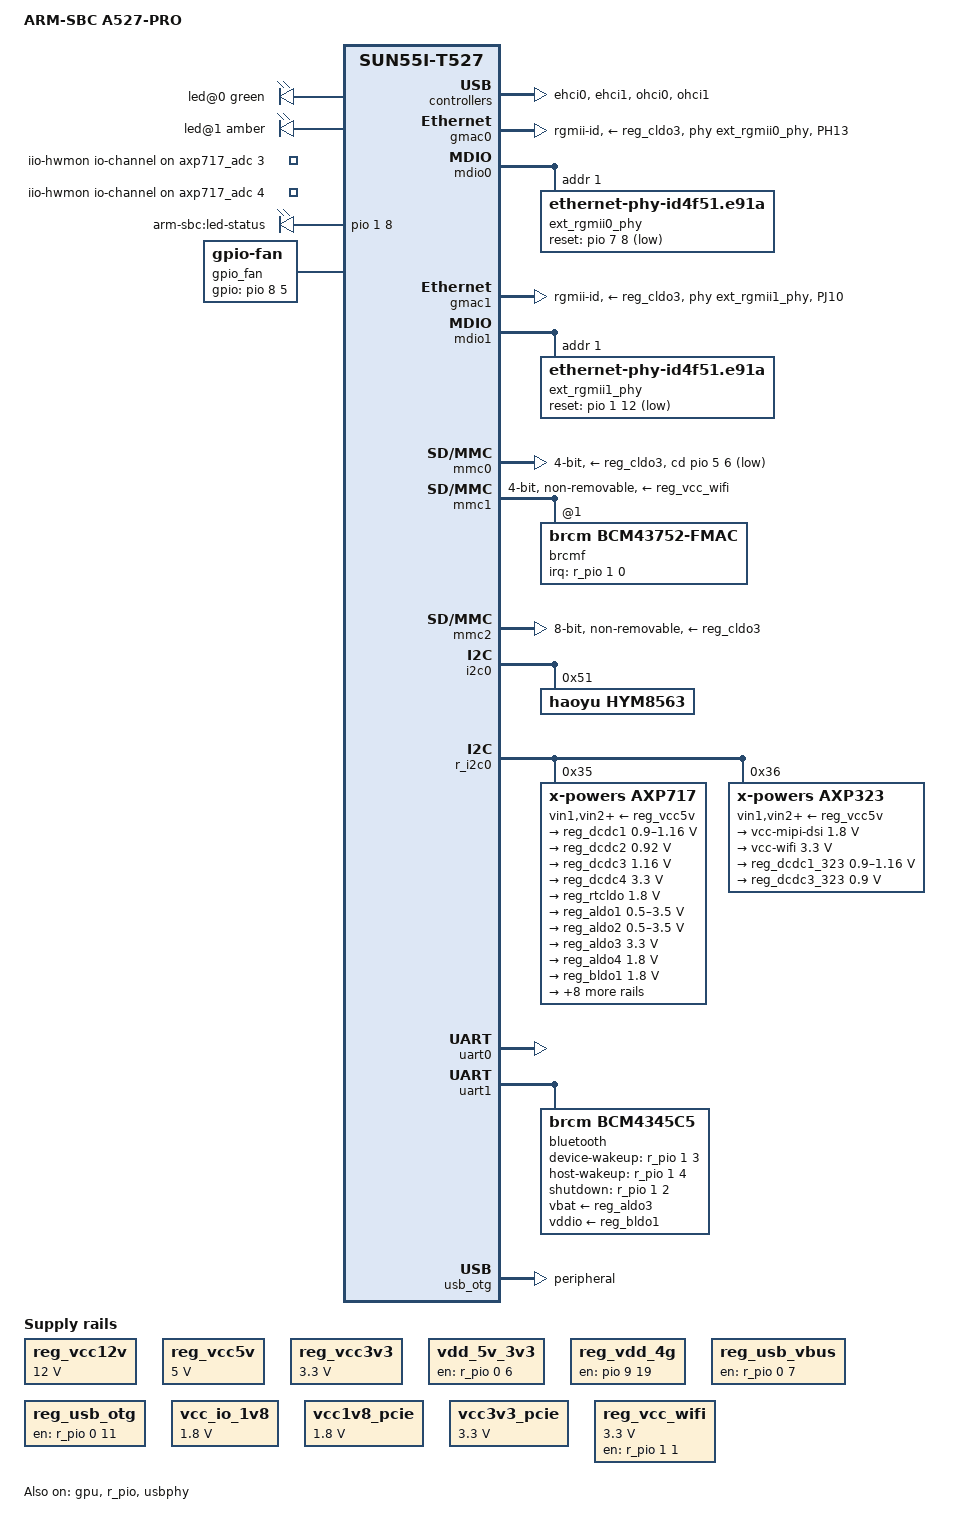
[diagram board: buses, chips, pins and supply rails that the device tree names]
// SPDX-License-Identifier: (GPL-2.0-only OR MIT)
// Copyright (C) 2024 Arm Ltd.

/dts-v1/;

#include "sun55i-a523.dtsi"

#include <dt-bindings/gpio/gpio.h>
#include <dt-bindings/leds/common.h>


/ {
	model = "ARM-SBC A527-PRO";
	compatible = "armsbc,a527-pro", "allwinner,sun55i-t527";

	aliases {
		mmc0 = &mmc0;
		mmc1 = &mmc1;
		mmc2 = &mmc2;
		serial0 = &uart0;
		serial1 = &uart1;
		serial2 = &uart2;
		serial3 = &uart3;
		serial4 = &uart4;
		serial5 = &uart5;
		serial6 = &uart6;
		serial7 = &uart7;
		i2c0	= &i2c0;
		i2c1	= &i2c1;
		i2c2	= &i2c2;
		i2c3	= &i2c3;
		i2c4	= &i2c4;
		i2c5	= &i2c5;
		i2c6  	= &r_i2c0;
		ethernet0 = &gmac0;
		ethernet1 = &gmac1;
	};

	chosen {
		stdout-path = "serial0:115200n8";
	};
	
	leds {
		compatible = "gpio-leds";
		#address-cells = <1>;
		#size-cells = <0>;
		
		led@0 {
				reg = <0>;
				color = <LED_COLOR_ID_GREEN>;
				function = LED_FUNCTION_LAN;
				linux,default-trigger = "netdev";
			};

		led@1 {
				reg = <1>;
				color = <LED_COLOR_ID_AMBER>;
				function = LED_FUNCTION_LAN;
				linux,default-trigger = "netdev";
			};
	};
	
	iio-hwmon {
		compatible = "iio-hwmon";
		io-channels = <&axp717_adc 3>, /* vsys_v */
			      <&axp717_adc 4>; /* pmic_temp */
	};
		
	run-control {
		compatible = "gpio-leds";
		led-status {
			label = "arm-sbc:led-status";
			gpios = <&pio 1 8 GPIO_ACTIVE_HIGH>; /* PB8 */
			default-state = "on";
		};
	};
	
	gpio_fan {
		compatible = "gpio-fan";
		gpios = <&pio 8 5 GPIO_ACTIVE_HIGH>; /* PI5*/
		gpio-fan,speed-map = <0    0
				      1000 1
				      2000 2>;
        	#cooling-cells = <2>;
        	status = "okay";
	};
	
	reg_vcc12v: vcc12v {
		compatible = "regulator-fixed";
		regulator-name = "vcc-12v";
		regulator-min-microvolt = <12000000>;
		regulator-max-microvolt = <12000000>;
		regulator-always-on;
		regulator-boot-on;
	};
	
	reg_vcc5v: vcc5v {
		compatible = "regulator-fixed";
		regulator-name = "vcc-5v";
		regulator-min-microvolt = <5000000>;
		regulator-max-microvolt = <5000000>;
		regulator-always-on;
		regulator-boot-on;
	};
	
	reg_vcc3v3: vcc3v3 {
		compatible = "regulator-fixed";
		regulator-name = "vcc-3v3";
		regulator-min-microvolt = <3300000>;
		regulator-max-microvolt = <3300000>;
		regulator-boot-on;
		regulator-always-on;
	};

	vdd_5v_3v3: vdd-5v-3v3 {
		compatible = "regulator-fixed";
		regulator-name = "vdd-5v-3v3";
		regulator-enable-ramp-delay = <1000>; 
		gpios = <&r_pio 0 6 GPIO_ACTIVE_HIGH>; /* PL6 */
		enable-active-high;
		regulator-boot-on;
		regulator-always-on;
	    };
    
	reg_vdd_4g: reg-vdd-4g {
		compatible = "regulator-fixed";
		regulator-name = "reg_vdd_4g";
		regulator-enable-ramp-delay = <1000>;
		gpios = <&pio 9 19 GPIO_ACTIVE_HIGH>; /* PJ19 */
		enable-active-high;
		regulator-boot-on;
		regulator-always-on;
	    };
	    
	reg_usb_vbus: reg-usb-vbus {
		compatible = "regulator-fixed";
		regulator-name = "reg_usb_vbus";
		regulator-enable-ramp-delay = <1000>;
		gpios = <&r_pio 0 7 GPIO_ACTIVE_HIGH>; /* PL7 */
		enable-active-high;
		regulator-boot-on;
		regulator-always-on;
	    };
	    
	reg_usb_otg: reg-usb-otg {
		compatible = "regulator-fixed";
		regulator-name = "reg_usb_otg";
		regulator-enable-ramp-delay = <1000>;
		gpios = <&r_pio 0 11 GPIO_ACTIVE_HIGH>; /* PL11 */
		enable-active-high;
		regulator-boot-on;
		regulator-always-on;
	    };
    
    	vcc_io_1v8: fixed-regulator-1v8 {
		compatible = "regulator-fixed";
		regulator-name = "vcc-io-1v8";
		regulator-min-microvolt = <1800000>;
		regulator-max-microvolt = <1800000>;
		regulator-always-on;
	};
	    
	vcc1v8_pcie: vcc1v8-pcie {
		compatible = "regulator-fixed";
		regulator-name = "vcc1v8-pcie";
		regulator-min-microvolt = <1800000>;
		regulator-max-microvolt = <1800000>;
		regulator-always-on;
		regulator-boot-on;
	};

	vcc3v3_pcie: vcc3v3-pcie {
		compatible = "regulator-fixed";
		regulator-name = "vcc3v3-pcie";
		regulator-min-microvolt = <3300000>;
		regulator-max-microvolt = <3300000>;
		regulator-always-on;
		regulator-boot-on;
	};
	
	reg_vcc_wifi: reg-vcc-wifi {
		compatible = "regulator-fixed";
		regulator-name = "reg_vcc_wifi";
		regulator-min-microvolt = <3300000>;
			regulator-max-microvolt = <3300000>;
		regulator-enable-ramp-delay = <1000>;
		gpios = <&r_pio 1 1 GPIO_ACTIVE_HIGH>; /* PM1 */
		enable-active-high;
		regulator-boot-on;
		regulator-always-on;
	};
};

&cpu0 {
	cpu-supply = <&reg_dcdc1>;
};

&cpu1 {
	cpu-supply = <&reg_dcdc1>;
};

&cpu2 {
	cpu-supply = <&reg_dcdc1>;
};

&cpu3 {
	cpu-supply = <&reg_dcdc1>;
};

&cpu4 {
	cpu-supply = <&reg_dcdc1_323>;
};

&cpu5 {
	cpu-supply = <&reg_dcdc1_323>;
};

&cpu6 {
	cpu-supply = <&reg_dcdc1_323>;
};

&cpu7 {
	cpu-supply = <&reg_dcdc1_323>;
};

&ehci0 {
	status = "okay";
};

&ehci1 {
	status = "okay";
};

&gmac0 {
	phy-mode = "rgmii-id";
	phy-handle = <&ext_rgmii0_phy>;
	phy-supply = <&reg_cldo3>;
	allwinner,tx-delay-ps = <100>;
	allwinner,rx-delay-ps = <300>;
	allwinner,use-25m-clk;
	pinctrl-0 = <&rgmii0_pins>, <&rgmii0_25m_pin>;
	clocks = <&ccu CLK_BUS_EMAC0>, <&ccu CLK_EMAC0_25M>;
	clock-names = "stmmaceth", "emac25m";
	pinctrl-names = "default";
	status = "okay";
};

&mdio0 {
	ext_rgmii0_phy: ethernet-phy@1 {
		compatible = "ethernet-phy-id4f51.e91a", "ethernet-phy-ieee802.3-c22";
		reg = <1>;
		reset-gpios = <&pio 7 8 GPIO_ACTIVE_LOW>;
        	reset-assert-us = <10000>;
		reset-deassert-us = <150000>;
		motorcomm,auto-sleep-disabled;
		motorcomm,keep-pll-enabled;
		motorcomm,clk-out-frequency-hz = <25000000>;
	};
};

&gmac1 {
	pinctrl-names = "default";
	pinctrl-0 = <&rgmii1_pins>, <&rgmii1_25m_pin>;
	clocks = <&ccu CLK_BUS_EMAC1>, <&ccu CLK_MBUS_EMAC1>,<&ccu CLK_EMAC1_25M>;
	clock-names = "stmmaceth", "mbus", "emac25m";
	phy-mode = "rgmii-id";
	phy-handle = <&ext_rgmii1_phy>;
	phy-supply = <&reg_cldo3>;
	allwinner,tx-delay-ps = <100>;
	allwinner,rx-delay-ps = <300>;
	allwinner,use-25m-clk;
	status = "okay";
};

&mdio1 {
	ext_rgmii1_phy: ethernet-phy@1 {
		compatible = "ethernet-phy-id4f51.e91a", "ethernet-phy-ieee802.3-c22";
		reg = <1>;
		reset-gpios = <&pio 1 12 GPIO_ACTIVE_LOW>;
		reset-assert-us = <10000>;
		reset-deassert-us = <150000>;
		motorcomm,auto-sleep-disabled;
		motorcomm,keep-pll-enabled;
		motorcomm,clk-out-frequency-hz = <25000000>;
	};
};

&pio {

	rgmii0_25m_pin: rgmii0-25m-pin {
		pins = "PH13";
		allwinner,pinmux = <5>;
		function = "gmac0";
		drive-strength = <40>;
		bias-disable;
	};
	
	rgmii1_25m_pin: rgmii1-25m-pin {
		pins = "PJ10";
		allwinner,pinmux = <5>;
		function = "gmac1";
		drive-strength = <40>;
		bias-disable;
	};
};

&gpu {
	mali-supply = <&reg_dcdc2>;
	status = "okay";
};

&mmc0 {
	vmmc-supply = <&reg_cldo3>;
	cd-gpios = <&pio 5 6 (GPIO_ACTIVE_LOW | GPIO_PULL_UP)>; /* PF6 */
	bus-width = <4>;
	status = "okay";
};

&mmc1 {
	pinctrl-names = "default";
	bus-width = <4>;
	no-mmc;
    	no-sd;
    	cap-sd-highspeed;
	non-removable;
	vmmc-supply = <&reg_vcc_wifi>;
	vqmmc-supply = <&reg_bldo1>;
	max-frequency = <25000000>;
	status = "okay";
	keep-power-in-suspend;
    	enable-sdio-wakeup;
		
	brcmf: wifi@1 {
		compatible = "brcm,bcm43752-fmac";
		reg = <1>;
		interrupt-parent = <&r_pio>;		
		interrupts = <1 0 IRQ_TYPE_LEVEL_HIGH>; /* PM0 */
		interrupt-names = "host-wake";
		clocks = <&hym8563>;
		clock-names = "lpo";
		depends-on = <&hym8563>;
	};
};

&mmc2 {
	vmmc-supply = <&reg_cldo3>;
	vqmmc-supply = <&reg_cldo1>;
	max-frequency = <150000000>;
	bus-width = <8>;
	non-removable;
	cap-mmc-hw-reset;
	mmc-ddr-1_8v;
	mmc-hs200-1_8v;
	status = "okay";
};

&ohci0 {
	status = "okay";
};

&ohci1 {
	status = "okay";
};

&pio {
	vcc-pb-supply = <&reg_cldo3>;	
	vcc-pc-supply = <&reg_cldo1>;
	vcc-pd-supply = <&reg_dcdc4>;
	vcc-pe-supply = <&reg_dcdc4>;
	vcc-pf-supply = <&reg_cldo3>;	
	vcc-pg-supply = <&reg_bldo1>;
	vcc-ph-supply = <&reg_cldo3>;	
	vcc-pi-supply = <&reg_dcdc4>;
	vcc-pj-supply = <&reg_dcdc4>;
	vcc-pk-supply = <&reg_bldo3>;
};

&i2c0 {
	status = "okay";
	pinctrl-0 = <&i2c0_pins_d>;
	pinctrl-names = "default";
	
	hym8563: rtc@51 {
        compatible = "haoyu,hym8563";
        //vcc-supply = <&reg_rtcldo>;
        reg = <0x51>;
        #clock-cells = <0>;
        clock-output-names = "ext-rtc-32k";
        status = "okay";
	};
};

&r_i2c0 {
	status = "okay";

	axp717: pmic@35 {
		compatible = "x-powers,axp717";
		reg = <0x35>;
		interrupt-controller;
		#interrupt-cells = <1>;
		interrupt-parent = <&nmi_intc>;
		interrupts = <0 IRQ_TYPE_LEVEL_LOW>;

		vin1-supply = <&reg_vcc5v>;
		vin2-supply = <&reg_vcc5v>;
		vin3-supply = <&reg_vcc5v>;
		vin4-supply = <&reg_vcc5v>;
		aldoin-supply = <&reg_vcc5v>;
		bldoin-supply = <&reg_vcc5v>;
		cldoin-supply = <&reg_vcc5v>;

		axp717_adc: adc {
				compatible = "x-powers,axp717-adc";
				#io-channel-cells = <1>;
		};

		battery-power {
			compatible = "x-powers,axp717-battery-power-supply";
			/* charger mode design but has no battery terminal */
			status = "disabled";
		};
		
		regulators {
			/* Supplies the "little" cluster (1.4 GHz cores) */
			reg_dcdc1: dcdc1 {
				regulator-always-on;
				regulator-min-microvolt = <900000>;
				regulator-max-microvolt = <1160000>;
				regulator-name = "vdd-cpul";
			};

			reg_dcdc2: dcdc2 {
				regulator-always-on;
				regulator-min-microvolt = <920000>;
				regulator-max-microvolt = <920000>;
				regulator-name = "vdd-gpu-sys";
			};

			reg_dcdc3: dcdc3 {
				regulator-always-on;
				regulator-min-microvolt = <1160000>;
				regulator-max-microvolt = <1160000>;
				regulator-name = "vdd-dram";
			};

			reg_dcdc4: dcdc4 {
				regulator-always-on;
				regulator-min-microvolt = <3300000>;
				regulator-max-microvolt = <3300000>;
				regulator-name = "vdd-io";
			};
			
			reg_rtcldo: rtcldo {
				/* RTC_LDO is a fixed, always-on regulator */
				regulator-name = "axp2202-rtcldo";
				regulator-min-microvolt = <1800000>;
				regulator-max-microvolt = <1800000>;
				regulator-boot-on;
				regulator-always-on;
            };

			reg_aldo1: aldo1 {
				regulator-name = "axp2202-aldo1";
                		regulator-min-microvolt = <500000>;
                		regulator-max-microvolt = <3500000>;
                		regulator-enable-ramp-delay = <1000>;
			};

			reg_aldo2: aldo2 {
			    	regulator-name = "axp2202-aldo2";
                		regulator-min-microvolt = <500000>;
                		regulator-max-microvolt = <3500000>;
                		regulator-enable-ramp-delay = <1000>;
			};

			reg_aldo3: aldo3 {
				/* supplies the I2C pins for this PMIC */
				regulator-always-on;
				regulator-min-microvolt = <3300000>;
				regulator-max-microvolt = <3300000>;
				regulator-name = "vcc-pl-pm";
			};

			reg_aldo4: aldo4 {
				regulator-always-on;
				regulator-min-microvolt = <1800000>;
				regulator-max-microvolt = <1800000>;
				regulator-name = "vcc-pll-dxco-avcc";
			};

			reg_bldo1: bldo1 {
				regulator-min-microvolt = <1800000>;
				regulator-max-microvolt = <1800000>;
				regulator-name = "vcc-pg-wifi-lvds";
			};

			reg_bldo2: bldo2 {
				regulator-always-on;
				regulator-min-microvolt = <1800000>;
				regulator-max-microvolt = <1800000>;
				regulator-name = "vcc-dram-1v8";
			};

			reg_bldo3: bldo3 {
				regulator-min-microvolt = <1800000>;
				regulator-max-microvolt = <1800000>;
				regulator-name = "vcc-cvp-pk-vid1v8";
			};

			reg_bldo4: bldo4 {
				regulator-name = "axp2202-bldo4";
                		regulator-min-microvolt = <500000>;
                		regulator-max-microvolt = <3500000>;
                		regulator-enable-ramp-delay = <1000>;
			};

			reg_cldo1: cldo1 {
				regulator-min-microvolt = <1900000>;
				regulator-max-microvolt = <1900000>;
				regulator-name = "vcc-pc";
			};

			reg_cldo2: cldo2 {
				regulator-min-microvolt = <1800000>;
				regulator-max-microvolt = <1800000>;
				regulator-name = "vcc-efuse";
			};

			reg_cldo3: cldo3 {
				regulator-min-microvolt = <3400000>;
				regulator-max-microvolt = <3400000>;
				regulator-name = "vcc-io-mmc-spi-ana";
			};

			reg_cldo4: cldo4 {
			    	regulator-name = "axp2202-cldo4";
                	    	regulator-min-microvolt = <500000>;
                		regulator-max-microvolt = <3500000>;
                		regulator-enable-ramp-delay = <1000>;
			};

			reg_cpusldo: cpusldo {
				/* supplies the management core */
				regulator-always-on;
				regulator-min-microvolt = <900000>;
				regulator-max-microvolt = <900000>;
				regulator-name = "vdd-cpus";
			};
		};
		
		usb-power {
			compatible = "x-powers,axp717-usb-power-supply";
		};
	};
	
	axp323: pmic@36 {
		compatible = "x-powers,axp323";
		reg = <0x36>;
		#interrupt-cells = <1>;
		interrupt-controller;
		interrupt-parent = <&nmi_intc>;
		interrupts = <0 IRQ_TYPE_LEVEL_LOW>;
		status = "okay";

		vin1-supply = <&reg_vcc5v>;
		vin2-supply = <&reg_vcc5v>;
		vin3-supply = <&reg_vcc5v>;

		regulators {
			aldo1 {
				regulator-min-microvolt = <1800000>;
				regulator-max-microvolt = <1800000>;
				regulator-name = "vcc-mipi-dsi";
			};

			dldo1 {
				regulator-min-microvolt = <3300000>;
				regulator-max-microvolt = <3300000>;
				regulator-name = "vcc-wifi";
			};

			/* Supplies the "big" cluster (1.8 GHz cores) */
			reg_dcdc1_323: dcdc1 {
				regulator-always-on;
				regulator-min-microvolt = <900000>;
				regulator-max-microvolt = <1160000>;
				regulator-name = "vdd-cpub";
			};

			/* DCDC2 is polyphased with DCDC1 */

			/* RISC-V management core supply */
			reg_dcdc3_323: dcdc3 {
				regulator-always-on;
				regulator-min-microvolt = <900000>;
				regulator-max-microvolt = <900000>;
				regulator-name = "vdd-dnr";
			};
		};
	};
};

&r_pio {
	status = "okay";
	vcc-pm-supply = <&vcc_io_1v8>;
	vcc-pl-supply = <&vcc_io_1v8>;
};

&uart0 {
	pinctrl-names = "default";
	pinctrl-0 = <&uart0_pb_pins>;
	status = "okay";
};

&uart1 {
	pinctrl-names = "default";
	pinctrl-0 = <&uart1_pins>, <&uart1_rts_cts_pins>;
	uart-has-rtscts;
	status = "okay";

	bluetooth {
		compatible = "brcm,bcm4345c5";
		clocks = <&hym8563>;
		clock-names = "lpo";
		vbat-supply = <&reg_aldo3>;
		vddio-supply = <&reg_bldo1>;
		device-wakeup-gpios = <&r_pio 1 3 GPIO_ACTIVE_HIGH>; /* PM3 */
		host-wakeup-gpios = <&r_pio 1 4 GPIO_ACTIVE_HIGH>; /* PM4 */
		shutdown-gpios = <&r_pio 1 2 GPIO_ACTIVE_HIGH>; /* PM2 */
	};
};

&usb_otg {
	dr_mode = "peripheral";
	status = "okay";
};

&usbphy {
	usb0_vbus-supply = <&reg_usb_vbus>;
	usb0_vbus_det-gpios = <&r_pio 1 5 GPIO_ACTIVE_HIGH>; /* PM5*/
	status = "okay";
};
